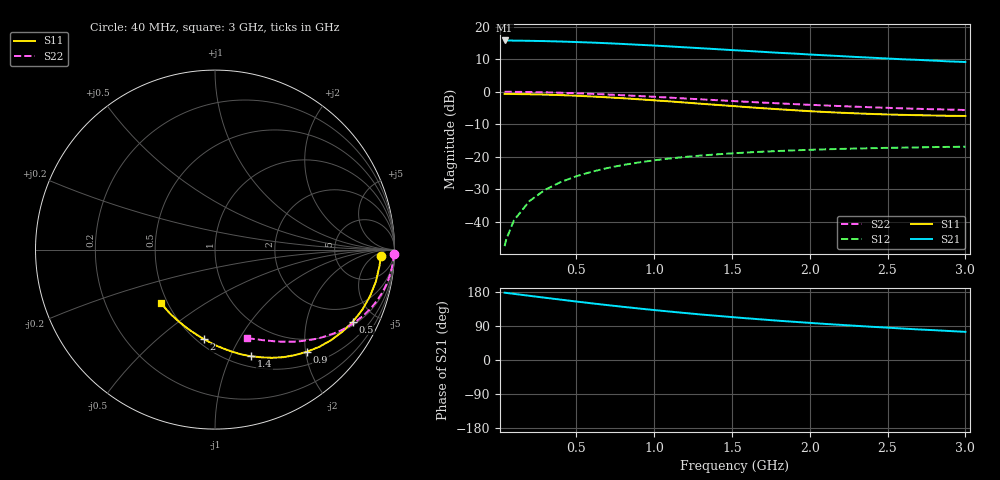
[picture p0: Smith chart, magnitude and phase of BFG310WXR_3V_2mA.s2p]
! Filename: 32BFG310WXR.s2p
! Title: BFG310WXR,RN20042071,Lot:TT3082,B:X1104,Sl.:3
! Bias: VCE=2.999V; IC=1.999mA;
! Company: Philips Semiconductors NL
! User: Q&R DSC-N
! Measure time: 29 Mar 2004 / 13:20:48
#  MHz  S  MA  R 50
! Freq  S11  S21  S12  S22  :
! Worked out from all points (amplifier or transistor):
!   32 points, 40 MHz to 3 GHz, reference 50 ohm
!   highest |S21| = 15.7 dB at 40 MHz (marker M1)
!   |S21| within 3 dB of that: start of sweep to 1.517 GHz
!   unconditionally stable (mu >= 1): nowhere
!   at 400 MHz: K = 0.15, MSG = 21.6 dB, |S12| = -27.8 dB
!   at 1.5 GHz: K = 0.50, MSG = 15.9 dB, |S12| = -18.9 dB
!   at 3 GHz: K = 0.80, MSG = 13.0 dB, |S12| = -16.9 dB
!   S11 on the Smith chart (normalised r, x): 40 MHz: 20, -10; 500 MHz: 1.16, -3.74; 900 MHz: 0.74, -2.03; 1.4 GHz: 0.61, -1.20; 2 GHz: 0.54, -0.73; 3 GHz: 0.46, -0.34
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40  0.9237 -2.2  6.114 177.6  0.004258 88.5  0.9971 -1.4
50  0.9236 -2.8  6.102 177.1  0.005351 87.7  0.997 -1.8
100  0.9212 -5.6  6.083 174.6  0.01064 85.8  0.9949 -3.6
200  0.9139 -11.2  6.034 169.4  0.021 82.0  0.9886 -7.2
300  0.9019 -16.7  5.976 164.3  0.03121 78.2  0.9778 -10.7
400  0.8864 -22.2  5.886 159.3  0.04097 74.5  0.9638 -14.1
500  0.8671 -27.6  5.783 154.4  0.05034 70.9  0.9464 -17.5
600  0.8443 -32.8  5.67 149.5  0.05911 67.5  0.9269 -20.8
700  0.8201 -38.0  5.545 144.9  0.06729 64.2  0.9052 -23.9
800  0.7939 -43.1  5.4 140.4  0.07498 61.1  0.8827 -26.9
900  0.7656 -48.0  5.252 136.1  0.08193 58.1  0.8589 -29.8
1000  0.7374 -52.9  5.109 131.8  0.08842 55.4  0.8357 -32.5
1100  0.7098 -57.6  4.953 127.8  0.09438 52.8  0.8108 -35.1
1300  0.6535 -66.7  4.646 120.2  0.1048 48.1  0.7638 -40.1
1400  0.6279 -71.2  4.498 116.7  0.1091 46.0  0.7416 -42.4
1600  0.5798 -79.9  4.224 109.9  0.1168 41.9  0.6992 -46.8
1800  0.5378 -88.6  3.952 103.6  0.123 38.6  0.6626 -50.8
2000  0.5025 -97.0  3.721 98.0  0.1283 35.7  0.629 -54.6
2100  0.4881 -101.2  3.615 95.2  0.1305 34.4  0.6151 -56.3
2400  0.4552 -113.3  3.321 87.6  0.1358 31.0  0.576 -61.3
2600  0.4407 -121.1  3.141 82.9  0.1385 29.3  0.5552 -64.4
3000  0.4241 -135.0  2.856 74.3  0.1432 26.1  0.5237 -70.4
